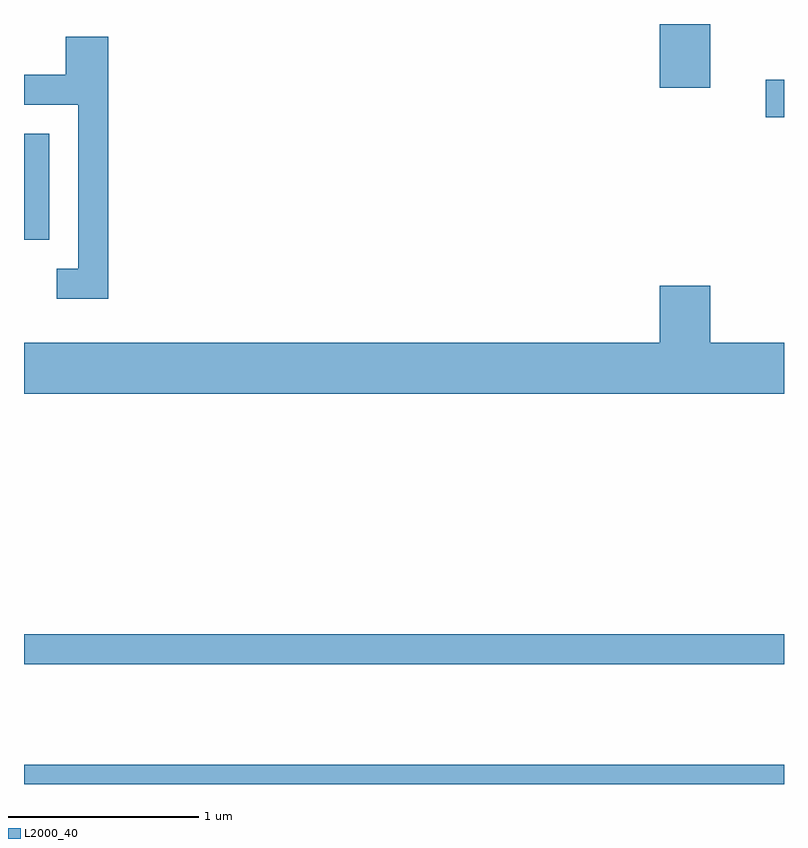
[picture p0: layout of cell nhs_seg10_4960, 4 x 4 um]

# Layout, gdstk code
import gdstk
lib = gdstk.Library(unit=1e-6, precision=1e-09)
def R(c, l, rs):  # rectangles x0, y0, x1, y1
    for r in rs: c.add(gdstk.rectangle(r[:2], r[2:], *l))
def P(c, l, *ps):  # polygons
    for p in ps: c.add(gdstk.Polygon(p, *l))
L2000_40 = (2000, 40)

nhs_seg10_4960 = lib.new_cell('nhs_seg10_4960')
R(nhs_seg10_4960, L2000_40, [(331.611,2118.522,335.611,2118.624), (331.611,2119.151,335.611,2119.309), (331.611,2121.386,331.744,2121.944), (335.516,2122.031,335.611,2122.229), (334.956,2122.186,335.224,2122.522)])
P(nhs_seg10_4960, L2000_40, [(332.054,2122.454),(331.831,2122.454),(331.831,2122.254),(331.611,2122.254),(331.611,2122.096),(331.896,2122.096),(331.896,2121.234),(331.783,2121.234),(331.783,2121.076),(332.054,2121.076)],
  [(335.611,2120.844),(335.224,2120.844),(335.224,2121.144),(334.956,2121.144),(334.956,2120.844),(331.611,2120.844),(331.611,2120.576),(335.611,2120.576)])

lib.write_gds('nhs_seg10_4960.gds')
